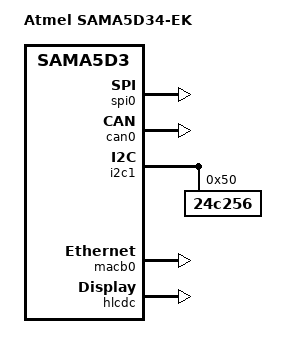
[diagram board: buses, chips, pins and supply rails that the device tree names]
/*
 * sama5d34ek.dts - Device Tree file for SAMA5D34-EK board
 *
 *  Copyright (C) 2013 Atmel,
 *                2013 Ludovic Desroches <ludovic.desroches@atmel.com>
 *
 * Licensed under GPLv2 or later.
 */
/dts-v1/;
#include "sama5d34.dtsi"
#include "sama5d3xmb.dtsi"
#include "sama5d3xmb_audio.dtsi"
#include "sama5d3xmb_isi_sensors.dtsi"
#include "pda-tm7000.dtsi"

/ {
	model = "Atmel SAMA5D34-EK";
	compatible = "atmel,sama5d34ek", "atmel,sama5d3xmb", "atmel,sama5d3xcm", "atmel,sama5d34", "atmel,sama5d3", "atmel,sama5";

	ahb {
		apb {
			spi0: spi@f0004000 {
				status = "okay";
			};

			ssc0: ssc@f0008000 {
				status = "okay";
			};

			can0: can@f000c000 {
				status = "okay";
			};

			i2c1: i2c@f0018000 {
				status = "okay";

				24c256@50 {
					compatible = "24c256";
					reg = <0x50>;
					pagesize = <64>;
				};
			};

			macb0: ethernet@f0028000 {
				status = "okay";
			};

			hlcdc: hlcdc@f0030000 {
				status = "okay";
				hlcdc-display-controller {
					pinctrl-names = "default";
					pinctrl-0 = <&pinctrl_lcd_base &pinctrl_lcd_rgb666_alt>;

					port@0 {
						hlcdc_panel_output: endpoint@0 {
							reg = <0>;
							remote-endpoint = <&panel_input>;
						};
					};
				};
			};
		};
	};

	backlight: backlight {
		pwms = <&hlcdc_pwm 0 50000 0>;
		brightness-levels = <0 4 8 16 32 64 128 255>;
		default-brightness-level = <6>;
		power-supply = <&bl_reg>;
		status = "okay";
	};

	bl_reg: backlight_regulator {
		status = "okay";
	};

	panel: panel {
		status = "okay";

		port@0 {
			panel_input: endpoint@0 {
				remote-endpoint = <&hlcdc_panel_output>;
			};
		};
	};

	panel_reg: panel_regulator {
		status = "okay";
	};

	sound {
		status = "okay";
	};
};
